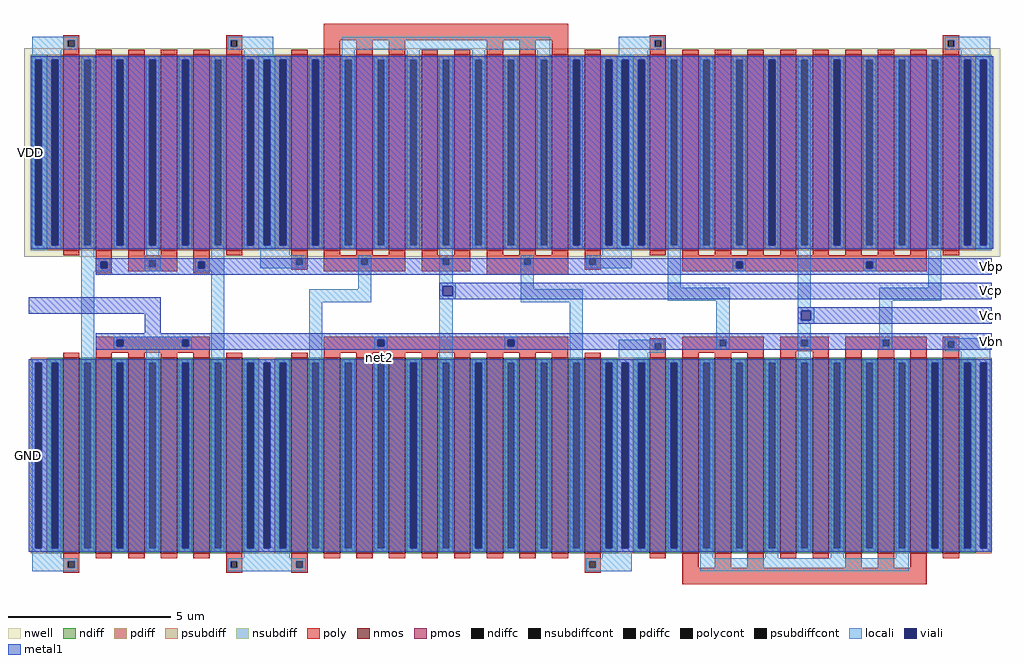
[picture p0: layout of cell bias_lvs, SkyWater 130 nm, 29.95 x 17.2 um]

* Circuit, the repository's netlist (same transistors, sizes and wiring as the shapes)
* SPICE3 file created from /home/madvlsi/MADVLSI/mini3/layout/bias_lvs.ext - technology: sky130A


* Top level circuit /home/madvlsi/MADVLSI/mini3/layout/bias_lvs

X0 a_n2690_2620# a_n3090_760# a_n2890_2620# VDD sky130_fd_pr__pfet_01v8 ad=3e+12p pd=1.3e+07u as=1.2e+13p ps=5.2e+07u w=6e+06u l=500000u
X1 a_n690_2620# Vbp a_n890_2620# VDD sky130_fd_pr__pfet_01v8 ad=3e+12p pd=1.3e+07u as=6e+12p ps=2.6e+07u w=6e+06u l=500000u
X2 Vbp Vbn GND GND sky130_fd_pr__nfet_01v8 ad=6e+12p pd=2.6e+07u as=3.6e+13p ps=1.56e+08u w=6e+06u l=500000u
X3 Vbp Vbp VDD VDD sky130_fd_pr__pfet_01v8 ad=6e+12p pd=2.6e+07u as=3.9e+13p ps=1.69e+08u w=6e+06u l=500000u
X4 GND Vbn Vbp GND sky130_fd_pr__nfet_01v8 ad=0p pd=0u as=0p ps=0u w=6e+06u l=500000u
X5 GND GND GND GND sky130_fd_pr__nfet_01v8 ad=0p pd=0u as=0p ps=0u w=6e+06u l=500000u
X6 net2 Vbn a_n2890_760# GND sky130_fd_pr__nfet_01v8 ad=3e+12p pd=1.3e+07u as=3e+12p ps=1.3e+07u w=6e+06u l=500000u
X7 VDD a_n3090_760# a_n2890_2620# VDD sky130_fd_pr__pfet_01v8 ad=0p pd=0u as=0p ps=0u w=6e+06u l=500000u
X8 VDD VDD a_n890_2620# VDD sky130_fd_pr__pfet_01v8 ad=0p pd=0u as=0p ps=0u w=6e+06u l=500000u
X9 a_n490_760# a_n890_2620# a_n690_760# GND sky130_fd_pr__nfet_01v8 ad=3e+12p pd=1.3e+07u as=1.2e+13p ps=5.2e+07u w=6e+06u l=500000u
X10 GND a_n890_2620# a_n690_760# GND sky130_fd_pr__nfet_01v8 ad=0p pd=0u as=0p ps=0u w=6e+06u l=500000u
X11 a_n2890_2620# a_n3090_760# a_n2690_2620# VDD sky130_fd_pr__pfet_01v8 ad=0p pd=0u as=0p ps=0u w=6e+06u l=500000u
X12 VDD VDD Vbp VDD sky130_fd_pr__pfet_01v8 ad=0p pd=0u as=0p ps=0u w=6e+06u l=500000u
X13 a_n490_2620# Vbp a_n690_2620# VDD sky130_fd_pr__pfet_01v8 ad=3e+12p pd=1.3e+07u as=0p ps=0u w=6e+06u l=500000u
X14 a_n1690_760# Vbn a_n1890_760# GND sky130_fd_pr__nfet_01v8 ad=3e+12p pd=1.3e+07u as=3e+12p ps=1.3e+07u w=6e+06u l=500000u
X15 Vcp Vbn GND GND sky130_fd_pr__nfet_01v8 ad=3e+12p pd=1.3e+07u as=0p ps=0u w=6e+06u l=500000u
X16 Vbp VDD VDD VDD sky130_fd_pr__pfet_01v8 ad=0p pd=0u as=0p ps=0u w=6e+06u l=500000u
X17 Vcn Vcn a_n690_760# GND sky130_fd_pr__nfet_01v8 ad=3e+12p pd=1.3e+07u as=0p ps=0u w=6e+06u l=500000u
X18 a_310_760# a_n890_2620# a_n690_760# GND sky130_fd_pr__nfet_01v8 ad=3e+12p pd=1.3e+07u as=0p ps=0u w=6e+06u l=500000u
X19 VDD Vbp Vcn VDD sky130_fd_pr__pfet_01v8 ad=0p pd=0u as=3e+12p ps=1.3e+07u w=6e+06u l=500000u
X20 a_n890_2620# Vbp a_510_2620# VDD sky130_fd_pr__pfet_01v8 ad=0p pd=0u as=3e+12p ps=1.3e+07u w=6e+06u l=500000u
X21 GND Vbn Vbn GND sky130_fd_pr__nfet_01v8 ad=0p pd=0u as=3e+12p ps=1.3e+07u w=6e+06u l=500000u
X22 GND GND a_n3090_760# GND sky130_fd_pr__nfet_01v8 ad=0p pd=0u as=6e+12p ps=2.6e+07u w=6e+06u l=500000u
X23 VDD VDD VDD VDD sky130_fd_pr__pfet_01v8 ad=0p pd=0u as=0p ps=0u w=6e+06u l=500000u
X24 Vbp GND GND GND sky130_fd_pr__nfet_01v8 ad=0p pd=0u as=0p ps=0u w=6e+06u l=500000u
X25 Vcp Vcp a_n2890_2620# VDD sky130_fd_pr__pfet_01v8 ad=3e+12p pd=1.3e+07u as=0p ps=0u w=6e+06u l=500000u
X26 VDD Vbp a_n490_2620# VDD sky130_fd_pr__pfet_01v8 ad=0p pd=0u as=0p ps=0u w=6e+06u l=500000u
X27 a_n2890_760# Vbn a_n3090_760# GND sky130_fd_pr__nfet_01v8 ad=0p pd=0u as=0p ps=0u w=6e+06u l=500000u
X28 VDD Vbp Vbp VDD sky130_fd_pr__pfet_01v8 ad=0p pd=0u as=0p ps=0u w=6e+06u l=500000u
X29 GND GND Vbp GND sky130_fd_pr__nfet_01v8 ad=0p pd=0u as=0p ps=0u w=6e+06u l=500000u
X30 Vbn Vbn GND GND sky130_fd_pr__nfet_01v8 ad=0p pd=0u as=0p ps=0u w=6e+06u l=500000u
X31 a_n690_760# a_n890_2620# GND GND sky130_fd_pr__nfet_01v8 ad=0p pd=0u as=0p ps=0u w=6e+06u l=500000u
X32 GND GND GND GND sky130_fd_pr__nfet_01v8 ad=0p pd=0u as=0p ps=0u w=6e+06u l=500000u
X33 a_n1890_2620# a_n3090_760# a_n2890_2620# VDD sky130_fd_pr__pfet_01v8 ad=3e+12p pd=1.3e+07u as=0p ps=0u w=6e+06u l=500000u
X34 a_510_2620# Vbp a_310_2620# VDD sky130_fd_pr__pfet_01v8 ad=0p pd=0u as=3e+12p ps=1.3e+07u w=6e+06u l=500000u
X35 a_n1890_760# Vbn GND GND sky130_fd_pr__nfet_01v8 ad=0p pd=0u as=0p ps=0u w=6e+06u l=500000u
X36 a_n2890_2620# a_n3090_760# VDD VDD sky130_fd_pr__pfet_01v8 ad=0p pd=0u as=0p ps=0u w=6e+06u l=500000u
X37 GND Vbn net2 GND sky130_fd_pr__nfet_01v8 ad=0p pd=0u as=0p ps=0u w=6e+06u l=500000u
X38 a_n2890_2620# Vcp Vcp VDD sky130_fd_pr__pfet_01v8 ad=0p pd=0u as=0p ps=0u w=6e+06u l=500000u
X39 a_n890_2620# VDD VDD VDD sky130_fd_pr__pfet_01v8 ad=0p pd=0u as=0p ps=0u w=6e+06u l=500000u
X40 a_n3090_760# GND GND GND sky130_fd_pr__nfet_01v8 ad=0p pd=0u as=0p ps=0u w=6e+06u l=500000u
X41 VDD VDD VDD VDD sky130_fd_pr__pfet_01v8 ad=0p pd=0u as=0p ps=0u w=6e+06u l=500000u
X42 Vcn Vbp VDD VDD sky130_fd_pr__pfet_01v8 ad=0p pd=0u as=0p ps=0u w=6e+06u l=500000u
X43 a_n690_760# a_n890_2620# a_n490_760# GND sky130_fd_pr__nfet_01v8 ad=0p pd=0u as=0p ps=0u w=6e+06u l=500000u
X44 a_n690_760# a_n890_2620# a_310_760# GND sky130_fd_pr__nfet_01v8 ad=0p pd=0u as=0p ps=0u w=6e+06u l=500000u
X45 VDD VDD VDD VDD sky130_fd_pr__pfet_01v8 ad=0p pd=0u as=0p ps=0u w=6e+06u l=500000u
X46 VDD VDD VDD VDD sky130_fd_pr__pfet_01v8 ad=0p pd=0u as=0p ps=0u w=6e+06u l=500000u
X47 a_n3090_760# Vbn a_n1690_760# GND sky130_fd_pr__nfet_01v8 ad=0p pd=0u as=0p ps=0u w=6e+06u l=500000u
X48 a_n690_760# Vcn Vcn GND sky130_fd_pr__nfet_01v8 ad=0p pd=0u as=0p ps=0u w=6e+06u l=500000u
X49 GND Vbn Vcp GND sky130_fd_pr__nfet_01v8 ad=0p pd=0u as=0p ps=0u w=6e+06u l=500000u
X50 a_n2890_2620# a_n3090_760# a_n1890_2620# VDD sky130_fd_pr__pfet_01v8 ad=0p pd=0u as=0p ps=0u w=6e+06u l=500000u
X51 a_310_2620# Vbp VDD VDD sky130_fd_pr__pfet_01v8 ad=0p pd=0u as=0p ps=0u w=6e+06u l=500000u
.end

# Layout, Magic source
magic
tech sky130A
<< nwell >>
rect -2415 1290 580 1930
<< nmos >>
rect -2295 380 -2245 980
rect -2195 380 -2145 980
rect -2095 380 -2045 980
rect -1995 380 -1945 980
rect -1895 380 -1845 980
rect -1795 380 -1745 980
rect -1595 380 -1545 980
rect -1495 380 -1445 980
rect -1395 380 -1345 980
rect -1295 380 -1245 980
rect -1195 380 -1145 980
rect -1095 380 -1045 980
rect -995 380 -945 980
rect -895 380 -845 980
rect -795 380 -745 980
rect -695 380 -645 980
rect -495 380 -445 980
rect -395 380 -345 980
rect -295 380 -245 980
rect -195 380 -145 980
rect -95 380 -45 980
rect 5 380 55 980
rect 105 380 155 980
rect 205 380 255 980
rect 305 380 355 980
rect 405 380 455 980
<< pmos >>
rect -2295 1310 -2245 1910
rect -2195 1310 -2145 1910
rect -2095 1310 -2045 1910
rect -1995 1310 -1945 1910
rect -1895 1310 -1845 1910
rect -1795 1310 -1745 1910
rect -1595 1310 -1545 1910
rect -1495 1310 -1445 1910
rect -1395 1310 -1345 1910
rect -1295 1310 -1245 1910
rect -1195 1310 -1145 1910
rect -1095 1310 -1045 1910
rect -995 1310 -945 1910
rect -895 1310 -845 1910
rect -795 1310 -745 1910
rect -695 1310 -645 1910
rect -495 1310 -445 1910
rect -395 1310 -345 1910
rect -295 1310 -245 1910
rect -195 1310 -145 1910
rect -95 1310 -45 1910
rect 5 1310 55 1910
rect 105 1310 155 1910
rect 205 1310 255 1910
rect 305 1310 355 1910
rect 405 1310 455 1910
<< ndiff >>
rect -2345 965 -2295 980
rect -2345 395 -2330 965
rect -2310 395 -2295 965
rect -2345 380 -2295 395
rect -2245 965 -2195 980
rect -2245 395 -2230 965
rect -2210 395 -2195 965
rect -2245 380 -2195 395
rect -2145 965 -2095 980
rect -2145 395 -2130 965
rect -2110 395 -2095 965
rect -2145 380 -2095 395
rect -2045 965 -1995 980
rect -2045 395 -2030 965
rect -2010 395 -1995 965
rect -2045 380 -1995 395
rect -1945 965 -1895 980
rect -1945 395 -1930 965
rect -1910 395 -1895 965
rect -1945 380 -1895 395
rect -1845 965 -1795 980
rect -1845 395 -1830 965
rect -1810 395 -1795 965
rect -1845 380 -1795 395
rect -1745 965 -1695 980
rect -1645 965 -1595 980
rect -1745 395 -1730 965
rect -1710 395 -1695 965
rect -1645 395 -1630 965
rect -1610 395 -1595 965
rect -1745 380 -1695 395
rect -1645 380 -1595 395
rect -1545 965 -1495 980
rect -1545 395 -1530 965
rect -1510 395 -1495 965
rect -1545 380 -1495 395
rect -1445 965 -1395 980
rect -1445 395 -1430 965
rect -1410 395 -1395 965
rect -1445 380 -1395 395
rect -1345 965 -1295 980
rect -1345 395 -1330 965
rect -1310 395 -1295 965
rect -1345 380 -1295 395
rect -1245 965 -1195 980
rect -1245 395 -1230 965
rect -1210 395 -1195 965
rect -1245 380 -1195 395
rect -1145 965 -1095 980
rect -1145 395 -1130 965
rect -1110 395 -1095 965
rect -1145 380 -1095 395
rect -1045 965 -995 980
rect -1045 395 -1030 965
rect -1010 395 -995 965
rect -1045 380 -995 395
rect -945 965 -895 980
rect -945 395 -930 965
rect -910 395 -895 965
rect -945 380 -895 395
rect -845 965 -795 980
rect -845 395 -830 965
rect -810 395 -795 965
rect -845 380 -795 395
rect -745 965 -695 980
rect -745 395 -730 965
rect -710 395 -695 965
rect -745 380 -695 395
rect -645 965 -595 980
rect -545 965 -495 980
rect -645 395 -630 965
rect -610 395 -595 965
rect -545 395 -530 965
rect -510 395 -495 965
rect -645 380 -595 395
rect -545 380 -495 395
rect -445 965 -395 980
rect -445 395 -430 965
rect -410 395 -395 965
rect -445 380 -395 395
rect -345 965 -295 980
rect -345 395 -330 965
rect -310 395 -295 965
rect -345 380 -295 395
rect -245 965 -195 980
rect -245 395 -230 965
rect -210 395 -195 965
rect -245 380 -195 395
rect -145 965 -95 980
rect -145 395 -130 965
rect -110 395 -95 965
rect -145 380 -95 395
rect -45 965 5 980
rect -45 395 -30 965
rect -10 395 5 965
rect -45 380 5 395
rect 55 965 105 980
rect 55 395 70 965
rect 90 395 105 965
rect 55 380 105 395
rect 155 965 205 980
rect 155 395 170 965
rect 190 395 205 965
rect 155 380 205 395
rect 255 965 305 980
rect 255 395 270 965
rect 290 395 305 965
rect 255 380 305 395
rect 355 965 405 980
rect 355 395 370 965
rect 390 395 405 965
rect 355 380 405 395
rect 455 965 505 980
rect 455 395 470 965
rect 490 395 505 965
rect 455 380 505 395
<< pdiff >>
rect -2345 1895 -2295 1910
rect -2345 1325 -2330 1895
rect -2310 1325 -2295 1895
rect -2345 1310 -2295 1325
rect -2245 1895 -2195 1910
rect -2245 1325 -2230 1895
rect -2210 1325 -2195 1895
rect -2245 1310 -2195 1325
rect -2145 1895 -2095 1910
rect -2145 1325 -2130 1895
rect -2110 1325 -2095 1895
rect -2145 1310 -2095 1325
rect -2045 1895 -1995 1910
rect -2045 1325 -2030 1895
rect -2010 1325 -1995 1895
rect -2045 1310 -1995 1325
rect -1945 1895 -1895 1910
rect -1945 1325 -1930 1895
rect -1910 1325 -1895 1895
rect -1945 1310 -1895 1325
rect -1845 1895 -1795 1910
rect -1845 1325 -1830 1895
rect -1810 1325 -1795 1895
rect -1845 1310 -1795 1325
rect -1745 1895 -1695 1910
rect -1645 1895 -1595 1910
rect -1745 1325 -1730 1895
rect -1710 1325 -1695 1895
rect -1645 1325 -1630 1895
rect -1610 1325 -1595 1895
rect -1745 1310 -1695 1325
rect -1645 1310 -1595 1325
rect -1545 1895 -1495 1910
rect -1545 1325 -1530 1895
rect -1510 1325 -1495 1895
rect -1545 1310 -1495 1325
rect -1445 1895 -1395 1910
rect -1445 1325 -1430 1895
rect -1410 1325 -1395 1895
rect -1445 1310 -1395 1325
rect -1345 1895 -1295 1910
rect -1345 1325 -1330 1895
rect -1310 1325 -1295 1895
rect -1345 1310 -1295 1325
rect -1245 1895 -1195 1910
rect -1245 1325 -1230 1895
rect -1210 1325 -1195 1895
rect -1245 1310 -1195 1325
rect -1145 1895 -1095 1910
rect -1145 1325 -1130 1895
rect -1110 1325 -1095 1895
rect -1145 1310 -1095 1325
rect -1045 1895 -995 1910
rect -1045 1325 -1030 1895
rect -1010 1325 -995 1895
rect -1045 1310 -995 1325
rect -945 1895 -895 1910
rect -945 1325 -930 1895
rect -910 1325 -895 1895
rect -945 1310 -895 1325
rect -845 1895 -795 1910
rect -845 1325 -830 1895
rect -810 1325 -795 1895
rect -845 1310 -795 1325
rect -745 1895 -695 1910
rect -745 1325 -730 1895
rect -710 1325 -695 1895
rect -745 1310 -695 1325
rect -645 1895 -595 1910
rect -545 1895 -495 1910
rect -645 1325 -630 1895
rect -610 1325 -595 1895
rect -545 1325 -530 1895
rect -510 1325 -495 1895
rect -645 1310 -595 1325
rect -545 1310 -495 1325
rect -445 1895 -395 1910
rect -445 1325 -430 1895
rect -410 1325 -395 1895
rect -445 1310 -395 1325
rect -345 1895 -295 1910
rect -345 1325 -330 1895
rect -310 1325 -295 1895
rect -345 1310 -295 1325
rect -245 1895 -195 1910
rect -245 1325 -230 1895
rect -210 1325 -195 1895
rect -245 1310 -195 1325
rect -145 1895 -95 1910
rect -145 1325 -130 1895
rect -110 1325 -95 1895
rect -145 1310 -95 1325
rect -45 1895 5 1910
rect -45 1325 -30 1895
rect -10 1325 5 1895
rect -45 1310 5 1325
rect 55 1895 105 1910
rect 55 1325 70 1895
rect 90 1325 105 1895
rect 55 1310 105 1325
rect 155 1895 205 1910
rect 155 1325 170 1895
rect 190 1325 205 1895
rect 155 1310 205 1325
rect 255 1895 305 1910
rect 255 1325 270 1895
rect 290 1325 305 1895
rect 255 1310 305 1325
rect 355 1895 405 1910
rect 355 1325 370 1895
rect 390 1325 405 1895
rect 355 1310 405 1325
rect 455 1895 505 1910
rect 455 1325 470 1895
rect 490 1325 505 1895
rect 455 1310 505 1325
<< ndiffc >>
rect -2330 395 -2310 965
rect -2230 395 -2210 965
rect -2130 395 -2110 965
rect -2030 395 -2010 965
rect -1930 395 -1910 965
rect -1830 395 -1810 965
rect -1730 395 -1710 965
rect -1630 395 -1610 965
rect -1530 395 -1510 965
rect -1430 395 -1410 965
rect -1330 395 -1310 965
rect -1230 395 -1210 965
rect -1130 395 -1110 965
rect -1030 395 -1010 965
rect -930 395 -910 965
rect -830 395 -810 965
rect -730 395 -710 965
rect -630 395 -610 965
rect -530 395 -510 965
rect -430 395 -410 965
rect -330 395 -310 965
rect -230 395 -210 965
rect -130 395 -110 965
rect -30 395 -10 965
rect 70 395 90 965
rect 170 395 190 965
rect 270 395 290 965
rect 370 395 390 965
rect 470 395 490 965
<< pdiffc >>
rect -2330 1325 -2310 1895
rect -2230 1325 -2210 1895
rect -2130 1325 -2110 1895
rect -2030 1325 -2010 1895
rect -1930 1325 -1910 1895
rect -1830 1325 -1810 1895
rect -1730 1325 -1710 1895
rect -1630 1325 -1610 1895
rect -1530 1325 -1510 1895
rect -1430 1325 -1410 1895
rect -1330 1325 -1310 1895
rect -1230 1325 -1210 1895
rect -1130 1325 -1110 1895
rect -1030 1325 -1010 1895
rect -930 1325 -910 1895
rect -830 1325 -810 1895
rect -730 1325 -710 1895
rect -630 1325 -610 1895
rect -530 1325 -510 1895
rect -430 1325 -410 1895
rect -330 1325 -310 1895
rect -230 1325 -210 1895
rect -130 1325 -110 1895
rect -30 1325 -10 1895
rect 70 1325 90 1895
rect 170 1325 190 1895
rect 270 1325 290 1895
rect 370 1325 390 1895
rect 470 1325 490 1895
<< psubdiff >>
rect -2395 965 -2345 980
rect -2395 395 -2380 965
rect -2360 395 -2345 965
rect -2395 380 -2345 395
rect -1695 965 -1645 980
rect -1695 395 -1680 965
rect -1660 395 -1645 965
rect -1695 380 -1645 395
rect -595 965 -545 980
rect -595 395 -580 965
rect -560 395 -545 965
rect -595 380 -545 395
rect 505 965 555 980
rect 505 395 520 965
rect 540 395 555 965
rect 505 380 555 395
<< nsubdiff >>
rect -2395 1895 -2345 1910
rect -2395 1325 -2380 1895
rect -2360 1325 -2345 1895
rect -2395 1310 -2345 1325
rect -1695 1895 -1645 1910
rect -1695 1325 -1680 1895
rect -1660 1325 -1645 1895
rect -1695 1310 -1645 1325
rect -595 1895 -545 1910
rect -595 1325 -580 1895
rect -560 1325 -545 1895
rect -595 1310 -545 1325
rect 505 1895 555 1910
rect 505 1325 520 1895
rect 540 1325 555 1895
rect 505 1310 555 1325
<< psubdiffcont >>
rect -2380 395 -2360 965
rect -1680 395 -1660 965
rect -580 395 -560 965
rect 520 395 540 965
<< nsubdiffcont >>
rect -2380 1325 -2360 1895
rect -1680 1325 -1660 1895
rect -580 1325 -560 1895
rect 520 1325 540 1895
<< poly >>
rect -2295 1955 -2245 1970
rect -2295 1935 -2280 1955
rect -2260 1935 -2245 1955
rect -2295 1910 -2245 1935
rect -1795 1955 -1745 1970
rect -1795 1935 -1780 1955
rect -1760 1935 -1745 1955
rect -2195 1910 -2145 1925
rect -2095 1910 -2045 1925
rect -1995 1910 -1945 1925
rect -1895 1910 -1845 1925
rect -1795 1910 -1745 1935
rect -1495 1955 -745 2005
rect -1595 1910 -1545 1925
rect -1495 1910 -1445 1955
rect -1395 1910 -1345 1955
rect -1295 1910 -1245 1955
rect -1195 1910 -1145 1925
rect -1095 1910 -1045 1925
rect -995 1910 -945 1955
rect -895 1910 -845 1955
rect -795 1910 -745 1955
rect -495 1955 -445 1970
rect -495 1935 -480 1955
rect -460 1935 -445 1955
rect -695 1910 -645 1925
rect -495 1910 -445 1935
rect 405 1955 455 1970
rect 405 1935 420 1955
rect 440 1935 455 1955
rect -395 1910 -345 1925
rect -295 1910 -245 1925
rect -195 1910 -145 1925
rect -95 1910 -45 1925
rect 5 1910 55 1925
rect 105 1910 155 1925
rect 205 1910 255 1925
rect 305 1910 355 1925
rect 405 1910 455 1935
rect -2295 1295 -2245 1310
rect -2195 1275 -2145 1310
rect -2195 1255 -2180 1275
rect -2160 1255 -2145 1275
rect -2195 1240 -2145 1255
rect -2095 1295 -2045 1310
rect -1995 1295 -1945 1310
rect -2095 1280 -1945 1295
rect -2095 1260 -2030 1280
rect -2010 1260 -1945 1280
rect -2095 1245 -1945 1260
rect -1895 1275 -1845 1310
rect -1795 1295 -1745 1310
rect -1895 1255 -1880 1275
rect -1860 1255 -1845 1275
rect -1895 1240 -1845 1255
rect -1595 1285 -1545 1310
rect -1595 1265 -1580 1285
rect -1560 1265 -1545 1285
rect -1595 1250 -1545 1265
rect -1495 1295 -1445 1310
rect -1395 1295 -1345 1310
rect -1295 1295 -1245 1310
rect -1495 1285 -1245 1295
rect -1495 1265 -1380 1285
rect -1360 1265 -1245 1285
rect -1495 1245 -1245 1265
rect -1195 1295 -1145 1310
rect -1095 1295 -1045 1310
rect -1195 1285 -1045 1295
rect -1195 1265 -1130 1285
rect -1110 1265 -1045 1285
rect -1195 1245 -1045 1265
rect -995 1295 -945 1310
rect -895 1295 -845 1310
rect -795 1295 -745 1310
rect -995 1285 -745 1295
rect -995 1265 -880 1285
rect -860 1265 -745 1285
rect -995 1235 -745 1265
rect -695 1285 -645 1310
rect -495 1295 -445 1310
rect -395 1295 -345 1310
rect -295 1295 -245 1310
rect -195 1295 -145 1310
rect -95 1295 -45 1310
rect 5 1295 55 1310
rect 105 1295 155 1310
rect 205 1295 255 1310
rect 305 1295 355 1310
rect 405 1295 455 1310
rect -695 1265 -680 1285
rect -660 1265 -645 1285
rect -695 1250 -645 1265
rect -395 1275 355 1295
rect -395 1255 -230 1275
rect -210 1255 170 1275
rect 190 1255 355 1275
rect -395 1245 355 1255
rect -2195 1035 -1845 1045
rect -2195 1015 -2130 1035
rect -2110 1015 -1930 1035
rect -1910 1015 -1845 1035
rect -2195 995 -1845 1015
rect -1495 1035 -745 1045
rect -1495 1015 -1330 1035
rect -1310 1015 -930 1035
rect -910 1015 -745 1035
rect -1495 995 -745 1015
rect -495 1025 -445 1040
rect -495 1005 -480 1025
rect -460 1005 -445 1025
rect -2295 980 -2245 995
rect -2195 980 -2145 995
rect -2095 980 -2045 995
rect -1995 980 -1945 995
rect -1895 980 -1845 995
rect -1795 980 -1745 995
rect -1595 980 -1545 995
rect -1495 980 -1445 995
rect -1395 980 -1345 995
rect -1295 980 -1245 995
rect -1195 980 -1145 995
rect -1095 980 -1045 995
rect -995 980 -945 995
rect -895 980 -845 995
rect -795 980 -745 995
rect -695 980 -645 995
rect -495 980 -445 1005
rect -395 1035 -145 1045
rect -395 1015 -280 1035
rect -260 1015 -145 1035
rect -395 995 -145 1015
rect -395 980 -345 995
rect -295 980 -245 995
rect -195 980 -145 995
rect -95 1035 55 1045
rect -95 1015 -30 1035
rect -10 1015 55 1035
rect -95 1000 55 1015
rect -95 980 -45 1000
rect 5 980 55 1000
rect 105 1035 355 1045
rect 105 1015 220 1035
rect 240 1015 355 1035
rect 105 1005 355 1015
rect 105 980 155 1005
rect 205 980 255 1005
rect 305 980 355 1005
rect 405 1030 455 1045
rect 405 1010 420 1030
rect 440 1010 455 1030
rect 405 980 455 1010
rect -2295 355 -2245 380
rect -2195 365 -2145 380
rect -2095 365 -2045 380
rect -1995 365 -1945 380
rect -1895 365 -1845 380
rect -2295 335 -2280 355
rect -2260 335 -2245 355
rect -2295 320 -2245 335
rect -1795 355 -1745 380
rect -1795 335 -1780 355
rect -1760 335 -1745 355
rect -1795 320 -1745 335
rect -1595 355 -1545 380
rect -1495 365 -1445 380
rect -1395 365 -1345 380
rect -1295 365 -1245 380
rect -1195 365 -1145 380
rect -1095 365 -1045 380
rect -995 365 -945 380
rect -895 365 -845 380
rect -795 365 -745 380
rect -1595 335 -1580 355
rect -1560 335 -1545 355
rect -1595 320 -1545 335
rect -695 355 -645 380
rect -495 365 -445 380
rect -695 335 -680 355
rect -660 335 -645 355
rect -695 320 -645 335
rect -395 335 -345 380
rect -295 335 -245 380
rect -195 335 -145 380
rect -95 365 -45 380
rect 5 365 55 380
rect 105 335 155 380
rect 205 335 255 380
rect 305 335 355 380
rect 405 365 455 380
rect -395 285 355 335
<< polycont >>
rect -2280 1935 -2260 1955
rect -1780 1935 -1760 1955
rect -480 1935 -460 1955
rect 420 1935 440 1955
rect -2180 1255 -2160 1275
rect -2030 1260 -2010 1280
rect -1880 1255 -1860 1275
rect -1580 1265 -1560 1285
rect -1380 1265 -1360 1285
rect -1130 1265 -1110 1285
rect -880 1265 -860 1285
rect -680 1265 -660 1285
rect -230 1255 -210 1275
rect 170 1255 190 1275
rect -2130 1015 -2110 1035
rect -1930 1015 -1910 1035
rect -1330 1015 -1310 1035
rect -930 1015 -910 1035
rect -480 1005 -460 1025
rect -280 1015 -260 1035
rect -30 1015 -10 1035
rect 220 1015 240 1035
rect 420 1010 440 1030
rect -2280 335 -2260 355
rect -1780 335 -1760 355
rect -1580 335 -1560 355
rect -680 335 -660 355
<< locali >>
rect -2390 1955 -2250 1965
rect -2390 1935 -2280 1955
rect -2260 1935 -2250 1955
rect -2390 1925 -2250 1935
rect -1790 1955 -1650 1965
rect -1790 1935 -1780 1955
rect -1760 1935 -1650 1955
rect -1790 1925 -1650 1935
rect -2390 1895 -2300 1925
rect -1740 1905 -1650 1925
rect -1440 1925 -800 1965
rect -2390 1325 -2380 1895
rect -2360 1325 -2330 1895
rect -2310 1325 -2300 1895
rect -2390 1315 -2300 1325
rect -2240 1895 -2200 1905
rect -2240 1325 -2230 1895
rect -2210 1325 -2200 1895
rect -2240 1285 -2200 1325
rect -2140 1895 -2100 1905
rect -2140 1325 -2130 1895
rect -2110 1325 -2100 1895
rect -2140 1315 -2100 1325
rect -2040 1895 -2000 1905
rect -2040 1325 -2030 1895
rect -2010 1325 -2000 1895
rect -2040 1295 -2000 1325
rect -1940 1895 -1900 1905
rect -1940 1325 -1930 1895
rect -1910 1325 -1900 1895
rect -1940 1315 -1900 1325
rect -1840 1895 -1800 1905
rect -1840 1325 -1830 1895
rect -1810 1325 -1800 1895
rect -2240 1275 -2150 1285
rect -2240 1255 -2180 1275
rect -2160 1255 -2150 1275
rect -2240 1245 -2150 1255
rect -2045 1280 -1995 1295
rect -1840 1285 -1800 1325
rect -1740 1895 -1600 1905
rect -1740 1325 -1730 1895
rect -1710 1325 -1680 1895
rect -1660 1325 -1630 1895
rect -1610 1325 -1600 1895
rect -1740 1315 -1600 1325
rect -1540 1895 -1500 1905
rect -1540 1325 -1530 1895
rect -1510 1325 -1500 1895
rect -1540 1315 -1500 1325
rect -1440 1895 -1400 1925
rect -1440 1325 -1430 1895
rect -1410 1325 -1400 1895
rect -1440 1315 -1400 1325
rect -1340 1895 -1300 1905
rect -1340 1325 -1330 1895
rect -1310 1325 -1300 1895
rect -1340 1315 -1300 1325
rect -1240 1895 -1200 1925
rect -1240 1325 -1230 1895
rect -1210 1325 -1200 1895
rect -1240 1315 -1200 1325
rect -1140 1895 -1100 1905
rect -1140 1325 -1130 1895
rect -1110 1325 -1100 1895
rect -2045 1260 -2030 1280
rect -2010 1260 -1995 1280
rect -2045 1245 -1995 1260
rect -1890 1275 -1800 1285
rect -1890 1255 -1880 1275
rect -1860 1255 -1800 1275
rect -1690 1295 -1600 1315
rect -1690 1285 -1550 1295
rect -1690 1265 -1580 1285
rect -1560 1265 -1550 1285
rect -1690 1255 -1550 1265
rect -1390 1285 -1350 1295
rect -1390 1265 -1380 1285
rect -1360 1265 -1350 1285
rect -1890 1245 -1800 1255
rect -2390 965 -2300 975
rect -2390 395 -2380 965
rect -2360 395 -2330 965
rect -2310 395 -2300 965
rect -2390 365 -2300 395
rect -2240 965 -2200 1245
rect -2140 1035 -1900 1045
rect -2140 1015 -2130 1035
rect -2110 1015 -1930 1035
rect -1910 1015 -1900 1035
rect -2140 1005 -1900 1015
rect -2240 395 -2230 965
rect -2210 395 -2200 965
rect -2240 385 -2200 395
rect -2140 965 -2100 975
rect -2140 395 -2130 965
rect -2110 395 -2100 965
rect -2140 385 -2100 395
rect -2040 965 -2000 1005
rect -2040 395 -2030 965
rect -2010 395 -2000 965
rect -2040 385 -2000 395
rect -1940 965 -1900 975
rect -1940 395 -1930 965
rect -1910 395 -1900 965
rect -1940 385 -1900 395
rect -1840 965 -1800 1245
rect -1390 1190 -1350 1265
rect -1540 1150 -1350 1190
rect -1140 1285 -1100 1325
rect -1040 1895 -1000 1925
rect -1040 1325 -1030 1895
rect -1010 1325 -1000 1895
rect -1040 1315 -1000 1325
rect -940 1895 -900 1905
rect -940 1325 -930 1895
rect -910 1325 -900 1895
rect -940 1315 -900 1325
rect -840 1895 -800 1925
rect -590 1955 -450 1965
rect -590 1935 -480 1955
rect -460 1935 -450 1955
rect -590 1925 -450 1935
rect 410 1955 550 1965
rect 410 1935 420 1955
rect 440 1935 550 1955
rect 410 1925 550 1935
rect -590 1905 -500 1925
rect -840 1325 -830 1895
rect -810 1325 -800 1895
rect -840 1315 -800 1325
rect -740 1895 -700 1905
rect -740 1325 -730 1895
rect -710 1325 -700 1895
rect -740 1315 -700 1325
rect -640 1895 -500 1905
rect -640 1325 -630 1895
rect -610 1325 -580 1895
rect -560 1325 -530 1895
rect -510 1325 -500 1895
rect -640 1315 -500 1325
rect -440 1895 -400 1905
rect -440 1325 -430 1895
rect -410 1325 -400 1895
rect -640 1295 -550 1315
rect -1140 1265 -1130 1285
rect -1110 1265 -1100 1285
rect -1140 1210 -1100 1265
rect -890 1285 -850 1295
rect -890 1265 -880 1285
rect -860 1265 -850 1285
rect -1140 1200 -1090 1210
rect -1140 1170 -1130 1200
rect -1100 1170 -1090 1200
rect -1140 1160 -1090 1170
rect -890 1190 -850 1265
rect -690 1285 -550 1295
rect -690 1265 -680 1285
rect -660 1265 -550 1285
rect -690 1255 -550 1265
rect -440 1195 -400 1325
rect -340 1895 -300 1905
rect -340 1325 -330 1895
rect -310 1325 -300 1895
rect -340 1315 -300 1325
rect -240 1895 -200 1905
rect -240 1325 -230 1895
rect -210 1325 -200 1895
rect -240 1315 -200 1325
rect -140 1895 -100 1905
rect -140 1325 -130 1895
rect -110 1325 -100 1895
rect -140 1315 -100 1325
rect -40 1895 0 1905
rect -40 1325 -30 1895
rect -10 1325 0 1895
rect -240 1275 -200 1285
rect -240 1255 -230 1275
rect -210 1255 -200 1275
rect -240 1245 -200 1255
rect -1840 395 -1830 965
rect -1810 395 -1800 965
rect -1840 385 -1800 395
rect -1740 965 -1600 975
rect -1740 395 -1730 965
rect -1710 395 -1680 965
rect -1660 395 -1630 965
rect -1610 395 -1600 965
rect -1740 365 -1600 395
rect -1540 965 -1500 1150
rect -1340 1035 -1300 1045
rect -1340 1015 -1330 1035
rect -1310 1015 -1300 1035
rect -1340 1005 -1300 1015
rect -1540 395 -1530 965
rect -1510 395 -1500 965
rect -1540 385 -1500 395
rect -1440 965 -1400 975
rect -1440 395 -1430 965
rect -1410 395 -1400 965
rect -1440 385 -1400 395
rect -1340 965 -1300 975
rect -1340 395 -1330 965
rect -1310 395 -1300 965
rect -1340 385 -1300 395
rect -1240 965 -1200 975
rect -1240 395 -1230 965
rect -1210 395 -1200 965
rect -1240 385 -1200 395
rect -1140 965 -1100 1160
rect -890 1150 -700 1190
rect -440 1155 -250 1195
rect -940 1035 -900 1045
rect -940 1015 -930 1035
rect -910 1015 -900 1035
rect -940 1005 -900 1015
rect -1140 395 -1130 965
rect -1110 395 -1100 965
rect -1140 385 -1100 395
rect -1040 965 -1000 975
rect -1040 395 -1030 965
rect -1010 395 -1000 965
rect -1040 385 -1000 395
rect -940 965 -900 975
rect -940 395 -930 965
rect -910 395 -900 965
rect -940 385 -900 395
rect -840 965 -800 975
rect -840 395 -830 965
rect -810 395 -800 965
rect -840 385 -800 395
rect -740 965 -700 1150
rect -290 1035 -250 1155
rect -590 1025 -450 1035
rect -590 1005 -480 1025
rect -460 1005 -450 1025
rect -290 1015 -280 1035
rect -260 1015 -250 1035
rect -290 1005 -250 1015
rect -40 1135 0 1325
rect 60 1895 100 1905
rect 60 1325 70 1895
rect 90 1325 100 1895
rect 60 1315 100 1325
rect 160 1895 200 1905
rect 160 1325 170 1895
rect 190 1325 200 1895
rect 160 1315 200 1325
rect 260 1895 300 1905
rect 260 1325 270 1895
rect 290 1325 300 1895
rect 260 1315 300 1325
rect 360 1895 400 1905
rect 360 1325 370 1895
rect 390 1325 400 1895
rect 160 1275 200 1285
rect 160 1255 170 1275
rect 190 1255 200 1275
rect 160 1245 200 1255
rect 360 1195 400 1325
rect 460 1895 550 1925
rect 460 1325 470 1895
rect 490 1325 520 1895
rect 540 1325 550 1895
rect 460 1315 550 1325
rect 210 1155 400 1195
rect -40 1125 10 1135
rect -40 1095 -30 1125
rect 0 1095 10 1125
rect -40 1085 10 1095
rect -40 1035 0 1085
rect -40 1015 -30 1035
rect -10 1015 0 1035
rect -590 995 -450 1005
rect -590 975 -500 995
rect -740 395 -730 965
rect -710 395 -700 965
rect -740 385 -700 395
rect -640 965 -500 975
rect -640 395 -630 965
rect -610 395 -580 965
rect -560 395 -530 965
rect -510 395 -500 965
rect -640 385 -500 395
rect -440 965 -400 975
rect -440 395 -430 965
rect -410 395 -400 965
rect -440 385 -400 395
rect -340 965 -300 975
rect -340 395 -330 965
rect -310 395 -300 965
rect -640 365 -550 385
rect -2390 355 -2250 365
rect -2390 335 -2280 355
rect -2260 335 -2250 355
rect -2390 325 -2250 335
rect -1790 355 -1550 365
rect -1790 335 -1780 355
rect -1760 335 -1580 355
rect -1560 335 -1550 355
rect -1790 325 -1550 335
rect -690 355 -550 365
rect -690 335 -680 355
rect -660 335 -550 355
rect -690 325 -550 335
rect -340 365 -300 395
rect -240 965 -200 975
rect -240 395 -230 965
rect -210 395 -200 965
rect -240 385 -200 395
rect -140 965 -100 975
rect -140 395 -130 965
rect -110 395 -100 965
rect -140 365 -100 395
rect -40 965 0 1015
rect 210 1035 250 1155
rect 210 1015 220 1035
rect 240 1015 250 1035
rect 210 1005 250 1015
rect 410 1030 550 1040
rect 410 1010 420 1030
rect 440 1010 550 1030
rect 410 1000 550 1010
rect -40 395 -30 965
rect -10 395 0 965
rect -40 385 0 395
rect 60 965 100 975
rect 60 395 70 965
rect 90 395 100 965
rect 60 365 100 395
rect 160 965 200 975
rect 160 395 170 965
rect 190 395 200 965
rect 160 385 200 395
rect 260 965 300 975
rect 260 395 270 965
rect 290 395 300 965
rect 260 365 300 395
rect 360 965 400 975
rect 360 395 370 965
rect 390 395 400 965
rect 360 385 400 395
rect 460 965 550 1000
rect 460 395 470 965
rect 490 395 520 965
rect 540 395 550 965
rect 460 385 550 395
rect -340 325 300 365
<< viali >>
rect -2380 1325 -2360 1895
rect -2330 1325 -2310 1895
rect -2130 1325 -2110 1895
rect -2030 1325 -2010 1895
rect -1930 1325 -1910 1895
rect -2180 1255 -2160 1275
rect -1730 1325 -1710 1895
rect -1680 1325 -1660 1895
rect -1630 1325 -1610 1895
rect -1530 1325 -1510 1895
rect -1880 1255 -1860 1275
rect -2380 395 -2360 965
rect -2330 395 -2310 965
rect -2130 1015 -2110 1035
rect -1930 1015 -1910 1035
rect -2130 395 -2110 965
rect -1930 395 -1910 965
rect -730 1325 -710 1895
rect -630 1325 -610 1895
rect -580 1325 -560 1895
rect -530 1325 -510 1895
rect -1130 1170 -1100 1200
rect -130 1325 -110 1895
rect -230 1255 -210 1275
rect -1730 395 -1710 965
rect -1680 395 -1660 965
rect -1630 395 -1610 965
rect -1330 1015 -1310 1035
rect -1230 395 -1210 965
rect -930 1015 -910 1035
rect -1030 395 -1010 965
rect 70 1325 90 1895
rect 170 1255 190 1275
rect 470 1325 490 1895
rect 520 1325 540 1895
rect -30 1095 0 1125
rect -630 395 -610 965
rect -580 395 -560 965
rect -530 395 -510 965
rect -430 395 -410 965
rect 370 395 390 965
rect 470 395 490 965
rect 520 395 540 965
<< metal1 >>
rect -2395 1895 560 1905
rect -2395 1325 -2380 1895
rect -2360 1325 -2330 1895
rect -2310 1325 -2130 1895
rect -2110 1325 -2030 1895
rect -2010 1325 -1930 1895
rect -1910 1325 -1730 1895
rect -1710 1325 -1680 1895
rect -1660 1325 -1630 1895
rect -1610 1325 -1530 1895
rect -1510 1325 -730 1895
rect -710 1325 -630 1895
rect -610 1325 -580 1895
rect -560 1325 -530 1895
rect -510 1325 -130 1895
rect -110 1325 70 1895
rect 90 1325 470 1895
rect 490 1325 520 1895
rect 540 1325 560 1895
rect -2395 1315 560 1325
rect -2195 1275 555 1285
rect -2195 1255 -2180 1275
rect -2160 1255 -1880 1275
rect -1860 1255 -230 1275
rect -210 1255 170 1275
rect 190 1255 555 1275
rect -2195 1235 555 1255
rect -1140 1200 555 1210
rect -1140 1170 -1130 1200
rect -1100 1170 555 1200
rect -2400 1115 -1995 1165
rect -1140 1160 555 1170
rect -2045 1055 -1995 1115
rect -40 1125 555 1135
rect -40 1095 -30 1125
rect 0 1095 555 1125
rect -40 1085 555 1095
rect -2195 1035 555 1055
rect -2195 1015 -2130 1035
rect -2110 1015 -1930 1035
rect -1910 1015 -1330 1035
rect -1310 1015 -930 1035
rect -910 1015 555 1035
rect -2195 1005 555 1015
rect -2400 965 555 975
rect -2400 395 -2380 965
rect -2360 395 -2330 965
rect -2310 395 -2130 965
rect -2110 395 -1930 965
rect -1910 395 -1730 965
rect -1710 395 -1680 965
rect -1660 395 -1630 965
rect -1610 395 -1230 965
rect -1210 395 -1030 965
rect -1010 395 -630 965
rect -610 395 -580 965
rect -560 395 -530 965
rect -510 395 -430 965
rect -410 395 370 965
rect 390 395 470 965
rect 490 395 520 965
rect 540 395 555 965
rect -2400 385 555 395
<< labels >>
rlabel metal1 555 1260 555 1260 3 Vbp
rlabel metal1 555 1185 555 1185 3 Vcp
rlabel metal1 555 1110 555 1110 3 Vcn
rlabel metal1 555 1030 555 1030 3 Vbn
rlabel metal1 -2400 680 -2400 680 7 GND
rlabel metal1 -2395 1610 -2395 1610 7 VDD
rlabel ndiff -1325 980 -1325 980 1 net2
<< end >>
